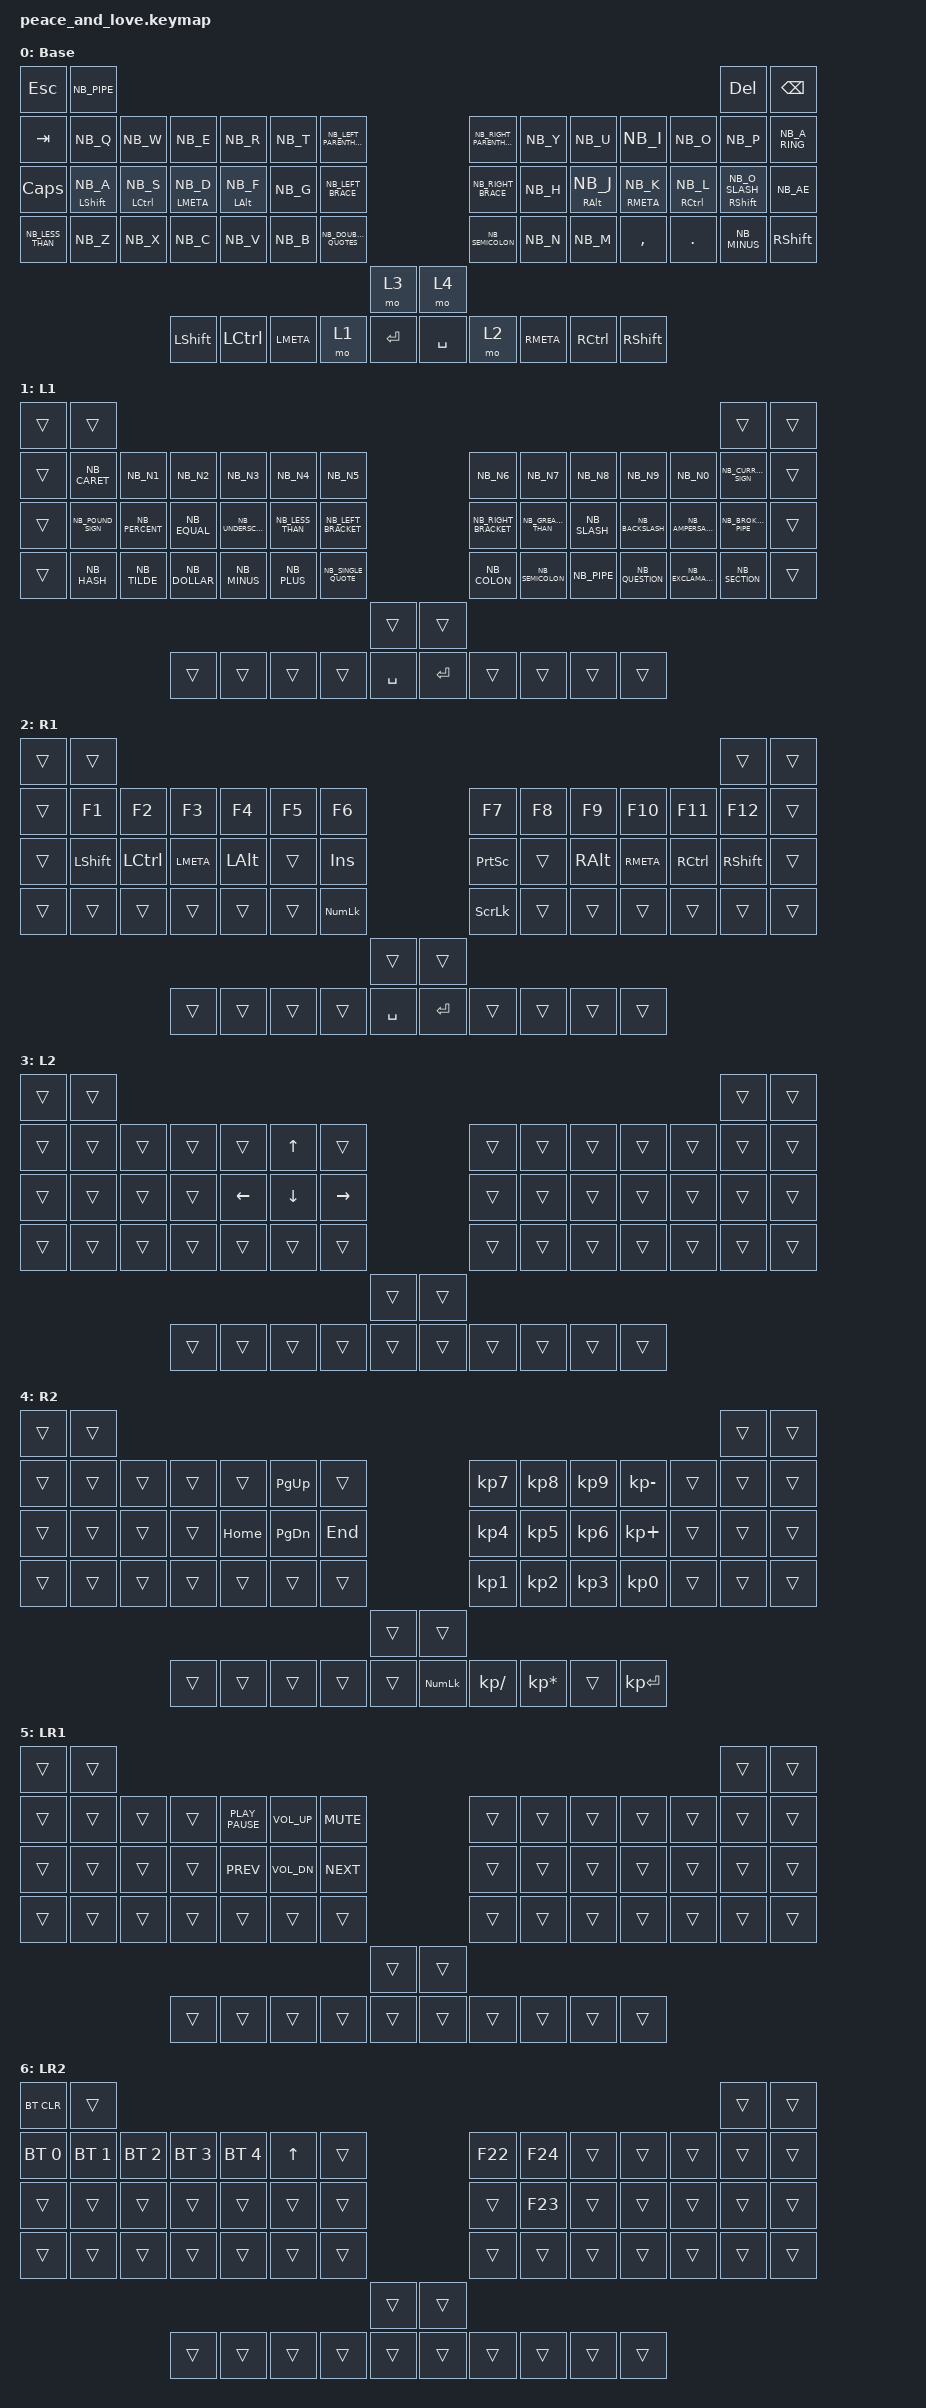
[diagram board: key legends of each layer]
/*
 * Copyright (c) 2020 The ZMK Contributors
 *
 * SPDX-License-Identifier: MIT
 */

#include <behaviors.dtsi>
#include <dt-bindings/zmk/bt.h>
#include <dt-bindings/zmk/keys.h>
#include "keys_nb.h"


&mt {
    tapping-term-ms = <250>;
    flavor = "tap-preferred";
};

/ {

    conditional_layers {
        compatible = "zmk,conditional-layers";

        five_one_plus_two_layer {
            if-layers = <1 2>;
            then-layer = <5>;
        };

        six_three_plus_four_layer {
            if-layers = <3 4>;
            then-layer = <6>;
        };
    };

    keymap {
        compatible = "zmk,keymap";

        default_layer {
            display-name = "Base";
            bindings = <
                &kp ESC             &kp NB_PIPE                                                                                                                                                                                                                                     &kp DELETE                  &kp BACKSPACE
                &kp TAB             &kp NB_Q            &kp NB_W        &kp NB_E            &kp NB_R            &kp NB_T        &kp NB_LEFT_PARENTHESIS                                 &kp NB_RIGHT_PARENTHESIS &kp NB_Y   &kp NB_U            &kp NB_I            &kp NB_O        &kp NB_P                    &kp NB_A_RING
                &kp CAPSLOCK        &mt LSHFT NB_A      &mt LCTRL NB_S  &mt LMETA NB_D      &mt LALT NB_F       &kp NB_G        &kp NB_LEFT_BRACE                                       &kp NB_RIGHT_BRACE       &kp NB_H   &mt RALT NB_J       &mt RMETA NB_K      &mt RCTRL NB_L  &mt RSHFT NB_O_SLASH        &kp NB_AE
                &kp NB_LESS_THAN    &kp NB_Z            &kp NB_X        &kp NB_C            &kp NB_V            &kp NB_B        &kp NB_DOUBLE_QUOTES                                    &kp NB_SEMICOLON         &kp NB_N   &kp NB_M            &kp COMMA           &kp DOT         &kp NB_MINUS                &kp RSHFT
                                                                                                                                                        &mo 3               &mo 4
                                                                        &kp LSHFT           &kp LCTRL           &kp LMETA       &mo 1                   &kp RET             &kp SPACE   &mo 2                    &kp RMETA  &kp RCTRL           &kp RSHFT
            >;
        };

        one_layer {
            display-name = "L1";
            bindings = <
                &trans              &trans                                                                                                                                                                                                                                          &trans                      &trans
                &trans              &kp NB_CARET        &kp NB_N1       &kp NB_N2           &kp NB_N3           &kp NB_N4       &kp NB_N5                                               &kp NB_N6               &kp NB_N7   &kp NB_N8           &kp NB_N9           &kp NB_N0       &kp NB_CURRENCY_SIGN        &trans
                &trans              &kp NB_POUND_SIGN   &kp NB_PERCENT  &kp NB_EQUAL        &kp NB_UNDERSCORE   &kp NB_LESS_THAN &kp NB_LEFT_BRACKET                                    &kp NB_RIGHT_BRACKET &kp NB_GREATER_THAN &kp NB_SLASH   &kp NB_BACKSLASH   &kp NB_AMPERSAND &kp NB_BROKEN_PIPE          &trans
                &trans              &kp NB_HASH         &kp NB_TILDE    &kp NB_DOLLAR       &kp NB_MINUS        &kp NB_PLUS     &kp NB_SINGLE_QUOTE                                     &kp NB_COLON       &kp NB_SEMICOLON &kp NB_PIPE         &kp NB_QUESTION  &kp NB_EXCLAMATION &kp NB_SECTION              &trans
                                                                                                                                                        &trans              &trans
                                                                        &trans              &trans              &trans          &trans                  &kp SPACE           &kp RET     &trans                  &trans      &trans              &trans
            >;
        };

        two_layer {
            display-name = "R1";
            bindings = <
                &trans              &trans                                                                                                                                                                                                                                          &trans                      &trans
                &trans              &kp F1              &kp F2          &kp F3              &kp F4              &kp F5          &kp F6                                                  &kp F7                  &kp F8      &kp F9              &kp F10             &kp F11         &kp F12                     &trans
                &trans              &kp LSHFT           &kp LCTRL       &kp LMETA           &kp LALT            &trans          &kp INS                                                 &kp PSCRN               &trans      &kp RALT            &kp RMETA           &kp RCTRL       &kp RSHFT                   &trans
                &trans              &trans              &trans          &trans              &trans              &trans          &kp KP_NUMLOCK                                          &kp SCROLLLOCK          &trans      &trans              &trans              &trans          &trans                      &trans
                                                                                                                                                        &trans              &trans
                                                                        &trans              &trans              &trans          &trans                  &kp SPACE           &kp RET     &trans                  &trans      &trans              &trans
            >;
        };

        three_layer {
            display-name = "L2";
            bindings = <
                &trans              &trans                                                                                                                                                                                                                                          &trans                      &trans
                &trans              &trans              &trans          &trans              &trans              &kp UP          &trans                                                  &trans                  &trans      &trans              &trans              &trans          &trans                      &trans
                &trans              &trans              &trans          &trans              &kp LEFT            &kp DOWN        &kp RIGHT                                               &trans                  &trans      &trans              &trans              &trans          &trans                      &trans
                &trans              &trans              &trans          &trans              &trans              &trans          &trans                                                  &trans                  &trans      &trans              &trans              &trans          &trans                      &trans
                                                                                                                                                        &trans              &trans
                                                                        &trans              &trans              &trans          &trans                  &trans              &trans      &trans                  &trans      &trans              &trans
            >;
        };

        four_layer {
            display-name = "R2";
            bindings = <
                &trans              &trans                                                                                                                                                                                                                                          &trans                      &trans
                &trans              &trans              &trans          &trans              &trans              &kp PG_UP       &trans                                                  &kp KP_N7               &kp KP_N8   &kp KP_N9           &kp KP_MINUS        &trans          &trans                      &trans
                &trans              &trans              &trans          &trans              &kp HOME            &kp PG_DN       &kp END                                                 &kp KP_N4               &kp KP_N5   &kp KP_N6           &kp KP_PLUS         &trans          &trans                      &trans
                &trans              &trans              &trans          &trans              &trans              &trans          &trans                                                  &kp KP_N1               &kp KP_N2   &kp KP_N3           &kp KP_N0           &trans          &trans                      &trans
                                                                                                                                                        &trans              &trans
                                                                        &trans              &trans              &trans          &trans                  &trans           &kp KP_NUMLOCK &kp KP_SLASH            &kp KP_ASTERISK &trans          &kp KP_ENTER
            >;
        };

        five_one_plus_two_layer {
            display-name = "LR1";
            bindings = <
                &trans              &trans                                                                                                                                                                                                                                          &trans                      &trans
                &trans              &trans              &trans          &trans              &kp K_PLAY_PAUSE    &kp K_VOL_UP    &kp K_MUTE                                              &trans                  &trans      &trans              &trans              &trans          &trans                      &trans
                &trans              &trans              &trans          &trans              &kp K_PREV          &kp K_VOL_DN    &kp K_NEXT                                              &trans                  &trans      &trans              &trans              &trans          &trans                      &trans
                &trans              &trans              &trans          &trans              &trans              &trans          &trans                                                  &trans                  &trans      &trans              &trans              &trans          &trans                      &trans
                                                                                                                                                        &trans              &trans
                                                                        &trans              &trans              &trans          &trans                  &trans              &trans      &trans                  &trans      &trans              &trans
            >;
        };

        six_three_plus_four_layer {
            display-name = "LR2";
            bindings = <
                &bt BT_CLR          &trans                                                                                                                                                                                                                                          &trans                      &trans
                &bt BT_SEL 0        &bt BT_SEL 1        &bt BT_SEL 2    &bt BT_SEL 3        &bt BT_SEL 4        &kp UP          &trans                                                  &kp F22                 &kp F24     &trans              &trans              &trans          &trans                      &trans
                &trans              &trans              &trans          &trans              &trans              &trans          &trans                                                  &trans                  &kp F23     &trans              &trans              &trans          &trans                      &trans
                &trans              &trans              &trans          &trans              &trans              &trans          &trans                                                  &trans                  &trans      &trans              &trans              &trans          &trans                      &trans
                                                                                                                                                        &trans              &trans
                                                                        &trans              &trans              &trans          &trans                  &trans              &trans      &trans                  &trans      &trans              &trans
            >;
        };
    };
};
